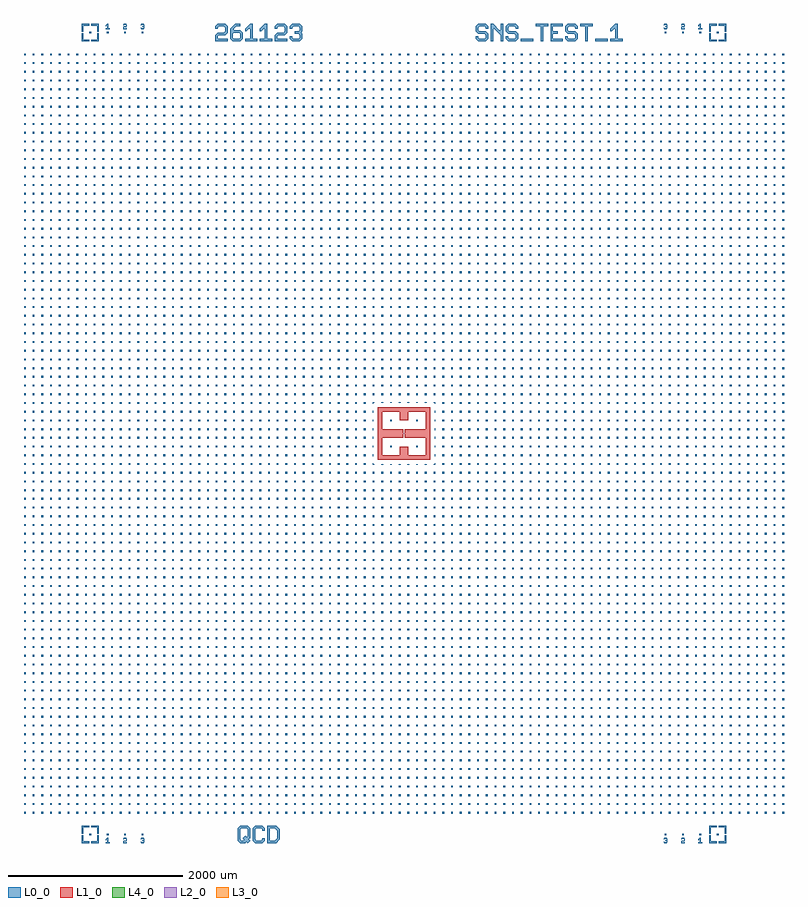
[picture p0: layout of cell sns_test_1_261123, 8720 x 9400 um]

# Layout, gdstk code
import gdstk
lib = gdstk.Library(unit=1e-6, precision=1e-09)
def R(c, l, rs):  # rectangles x0, y0, x1, y1
    for r in rs: c.add(gdstk.rectangle(r[:2], r[2:], *l))
def A(c, l, x, y, w, h, nx, ny, dx, dy):  # array of equal rectangles
    R(c, l, [(x+i*dx, y+j*dy, x+i*dx+w, y+j*dy+h) for i in range(nx) for j in range(ny)])
def P(c, l, *ps):  # polygons
    for p in ps: c.add(gdstk.Polygon(p, *l))
L0_0 = (0, 0)
L1_0 = (1, 0)
L2_0 = (2, 0)
L3_0 = (3, 0)
L4_0 = (4, 0)

sns_test_1_261123 = lib.new_cell('sns_test_1_261123')
A(sns_test_1_261123, L0_0, -3610, -4610, 20, 20, 4, 2, 200, 9200)
A(sns_test_1_261123, L0_0, 2990, -4610, 20, 20, 4, 2, 200, 9200)
A(sns_test_1_261123, L0_0, -4360, -4360, 20, 20, 88, 40, 100, 100)
A(sns_test_1_261123, L0_0, -4360, -360, 20, 20, 40, 8, 100, 100)
A(sns_test_1_261123, L0_0, -260, -360, 20, 10, 6, 2, 100, 710)
A(sns_test_1_261123, L0_0, 440, -360, 20, 20, 40, 2, 100, 100)
A(sns_test_1_261123, L0_0, -360, -260, 10, 20, 1, 6, 0, 100)
A(sns_test_1_261123, L0_0, 350, -260, 10, 20, 1, 6, 0, 100)
A(sns_test_1_261123, L0_0, -160, -160, 20, 20, 3, 2, 300, 300)
A(sns_test_1_261123, L0_0, 540, -160, 20, 20, 39, 2, 100, 300)
A(sns_test_1_261123, L0_0, 440, -60, 20, 20, 40, 2, 100, 100)
A(sns_test_1_261123, L0_0, 440, 240, 20, 20, 40, 2, 100, 100)
A(sns_test_1_261123, L0_0, -4360, 440, 20, 20, 88, 40, 100, 100)
R(sns_test_1_261123, L0_0, [(1338.096,4500,1480.953,4528.571), (2195.238,4500,2338.095,4528.571)])
P(sns_test_1_261123, L0_0, [(3610,4500),(3610,4520),(3680,4520),(3680,4590),(3700,4590),(3700,4500)],
  [(3680,4610),(3680,4680),(3610,4680),(3610,4700),(3700,4700),(3700,4610)],
  [(3500,4610),(3500,4700),(3590,4700),(3590,4680),(3520,4680),(3520,4610)],
  [(3500,4500),(3500,4590),(3520,4590),(3520,4520),(3590,4520),(3590,4500)],
  [(3378.572,4640),(3378.572,4648.571),(3395.715,4648.571),(3395.715,4682.857),(3391.429,4682.857),(3382.858,4674.286),(3378.572,4674.286),(3378.572,4682.857),(3395.715,4700),(3404.286,4700),(3404.286,4648.571),(3421.429,4648.571),(3421.429,4640)],
  [(3178.572,4640),(3178.572,4661.429),(3187.143,4670),(3208.572,4670),(3212.858,4674.286),(3212.858,4687.143),(3208.572,4691.429),(3191.429,4691.429),(3187.143,4687.143),(3187.143,4682.857),(3178.572,4682.857),(3178.572,4691.429),(3187.143,4700),(3212.858,4700),(3221.429,4691.429),(3221.429,4670),(3212.858,4661.429),(3191.429,4661.429),(3187.143,4657.143),(3187.143,4648.571),(3221.429,4648.571),(3221.429,4640)],
  [(2987.143,4640),(2978.572,4648.571),(2978.572,4657.143),(2987.143,4657.143),(2987.143,4652.857),(2991.429,4648.571),(3008.572,4648.571),(3012.858,4652.857),(3012.858,4661.429),(3008.572,4665.714),(2995.715,4665.714),(2995.715,4674.286),(3008.572,4674.286),(3012.858,4678.571),(3012.858,4687.143),(3008.572,4691.429),(2991.429,4691.429),(2987.143,4687.143),(2987.143,4682.857),(2978.572,4682.857),(2978.572,4691.429),(2987.143,4700),(3012.858,4700),(3021.429,4691.429),(3021.429,4674.286),(3017.143,4670),(3021.429,4665.714),(3021.429,4648.571),(3012.858,4640)],
  [(2366.666,4500),(2366.666,4528.571),(2423.809,4528.571),(2423.809,4642.857),(2409.523,4642.857),(2380.952,4614.286),(2366.666,4614.286),(2366.666,4642.857),(2423.809,4700),(2452.38,4700),(2452.38,4528.571),(2509.523,4528.571),(2509.523,4500)],
  [(995.239,4500),(995.239,4700),(1023.81,4700),(1095.239,4628.571),(1109.525,4628.571),(1109.525,4700),(1138.096,4700),(1138.096,4500),(1109.525,4500),(1109.525,4571.429),(1038.096,4642.857),(1023.81,4642.857),(1023.81,4500)],
  [(1566.667,4500),(1566.667,4671.428),(1509.524,4671.428),(1509.524,4700),(1652.381,4700),(1652.381,4671.428),(1595.238,4671.428),(1595.238,4500)],
  [(1680.952,4500),(1680.952,4700),(1823.809,4700),(1823.809,4671.428),(1709.523,4671.428),(1709.523,4614.286),(1766.666,4614.286),(1766.666,4585.714),(1709.523,4585.714),(1709.523,4528.571),(1823.809,4528.571),(1823.809,4500)],
  [(1880.952,4500),(1852.381,4528.571),(1852.381,4557.143),(1880.952,4557.143),(1880.952,4542.857),(1895.238,4528.571),(1952.381,4528.571),(1966.667,4542.857),(1966.667,4571.429),(1952.381,4585.714),(1880.952,4585.714),(1852.381,4614.286),(1852.381,4671.428),(1880.952,4700),(1966.667,4700),(1995.238,4671.428),(1995.238,4642.857),(1966.667,4642.857),(1966.667,4657.143),(1952.381,4671.428),(1895.238,4671.428),(1880.952,4657.143),(1880.952,4628.571),(1895.238,4614.286),(1966.667,4614.286),(1995.238,4585.714),(1995.238,4528.571),(1966.667,4500)],
  [(2080.952,4500),(2080.952,4671.428),(2023.809,4671.428),(2023.809,4700),(2166.666,4700),(2166.666,4671.428),(2109.523,4671.428),(2109.523,4500)],
  [(1195.238,4500),(1166.667,4528.571),(1166.667,4557.143),(1195.238,4557.143),(1195.238,4542.857),(1209.524,4528.571),(1266.667,4528.571),(1280.953,4542.857),(1280.953,4571.429),(1266.667,4585.714),(1195.238,4585.714),(1166.667,4614.286),(1166.667,4671.428),(1195.238,4700),(1280.953,4700),(1309.524,4671.428),(1309.524,4642.857),(1280.953,4642.857),(1280.953,4657.143),(1266.667,4671.428),(1209.524,4671.428),(1195.238,4657.143),(1195.238,4628.571),(1209.524,4614.286),(1280.953,4614.286),(1309.524,4585.714),(1309.524,4528.571),(1280.953,4500)],
  [(852.381,4500),(823.81,4528.571),(823.81,4557.143),(852.381,4557.143),(852.381,4542.857),(866.667,4528.571),(923.81,4528.571),(938.096,4542.857),(938.096,4571.429),(923.81,4585.714),(852.381,4585.714),(823.81,4614.286),(823.81,4671.428),(852.381,4700),(938.096,4700),(966.667,4671.428),(966.667,4642.857),(938.096,4642.857),(938.096,4657.143),(923.81,4671.428),(866.667,4671.428),(852.381,4657.143),(852.381,4628.571),(866.667,4614.286),(938.096,4614.286),(966.667,4585.714),(966.667,4528.571),(938.096,4500)],
  [(350,340),(350,350),(340,350),(340,360),(360,360),(360,340)],
  [(-1652.381,4500),(-1652.381,4528.571),(-1595.238,4528.571),(-1595.238,4642.857),(-1609.524,4642.857),(-1638.095,4614.286),(-1652.381,4614.286),(-1652.381,4642.857),(-1595.238,4700),(-1566.667,4700),(-1566.667,4528.571),(-1509.524,4528.571),(-1509.524,4500)],
  [(-1480.953,4500),(-1480.953,4571.429),(-1452.382,4600),(-1380.953,4600),(-1366.667,4614.286),(-1366.667,4657.143),(-1380.953,4671.428),(-1438.096,4671.428),(-1452.382,4657.143),(-1452.382,4642.857),(-1480.953,4642.857),(-1480.953,4671.428),(-1452.382,4700),(-1366.667,4700),(-1338.096,4671.428),(-1338.096,4600),(-1366.667,4571.429),(-1438.096,4571.429),(-1452.382,4557.143),(-1452.382,4528.571),(-1338.096,4528.571),(-1338.096,4500)],
  [(-1280.953,4500),(-1309.524,4528.571),(-1309.524,4557.143),(-1280.953,4557.143),(-1280.953,4542.857),(-1266.667,4528.571),(-1209.524,4528.571),(-1195.238,4542.857),(-1195.238,4571.429),(-1209.524,4585.714),(-1252.381,4585.714),(-1252.381,4614.286),(-1209.524,4614.286),(-1195.238,4628.571),(-1195.238,4657.143),(-1209.524,4671.428),(-1266.667,4671.428),(-1280.953,4657.143),(-1280.953,4642.857),(-1309.524,4642.857),(-1309.524,4671.428),(-1280.953,4700),(-1195.238,4700),(-1166.667,4671.428),(-1166.667,4614.286),(-1180.953,4600),(-1166.667,4585.714),(-1166.667,4528.571),(-1195.238,4500)],
  [(-2166.666,4500),(-2166.666,4571.429),(-2138.095,4600),(-2066.666,4600),(-2052.38,4614.286),(-2052.38,4657.143),(-2066.666,4671.428),(-2123.809,4671.428),(-2138.095,4657.143),(-2138.095,4642.857),(-2166.666,4642.857),(-2166.666,4671.428),(-2138.095,4700),(-2052.38,4700),(-2023.809,4671.428),(-2023.809,4600),(-2052.38,4571.429),(-2123.809,4571.429),(-2138.095,4557.143),(-2138.095,4528.571),(-2023.809,4528.571),(-2023.809,4500)],
  [(-1966.667,4500),(-1995.238,4528.571),(-1995.238,4642.857),(-1938.095,4700),(-1880.952,4700),(-1880.952,4671.428),(-1923.809,4671.428),(-1952.381,4642.857),(-1952.381,4628.571),(-1880.952,4628.571),(-1852.381,4600),(-1952.381,4600),(-1966.667,4585.714),(-1966.667,4542.857),(-1952.381,4528.571),(-1895.238,4528.571),(-1880.952,4542.857),(-1880.952,4585.714),(-1895.238,4600),(-1852.381,4600),(-1852.381,4528.571),(-1880.952,4500)],
  [(-1823.809,4500),(-1823.809,4528.571),(-1766.666,4528.571),(-1766.666,4642.857),(-1780.952,4642.857),(-1809.523,4614.286),(-1823.809,4614.286),(-1823.809,4642.857),(-1766.666,4700),(-1738.095,4700),(-1738.095,4528.571),(-1680.952,4528.571),(-1680.952,4500)],
  [(-3012.858,4640),(-3021.429,4648.571),(-3021.429,4657.143),(-3012.858,4657.143),(-3012.858,4652.857),(-3008.572,4648.571),(-2991.429,4648.571),(-2987.143,4652.857),(-2987.143,4661.429),(-2991.429,4665.714),(-3004.286,4665.714),(-3004.286,4674.286),(-2991.429,4674.286),(-2987.143,4678.571),(-2987.143,4687.143),(-2991.429,4691.429),(-3008.572,4691.429),(-3012.858,4687.143),(-3012.858,4682.857),(-3021.429,4682.857),(-3021.429,4691.429),(-3012.858,4700),(-2987.143,4700),(-2978.572,4691.429),(-2978.572,4674.286),(-2982.858,4670),(-2978.572,4665.714),(-2978.572,4648.571),(-2987.143,4640)],
  [(-3221.429,4640),(-3221.429,4661.429),(-3212.858,4670),(-3191.429,4670),(-3187.143,4674.286),(-3187.143,4687.143),(-3191.429,4691.429),(-3208.572,4691.429),(-3212.858,4687.143),(-3212.858,4682.857),(-3221.429,4682.857),(-3221.429,4691.429),(-3212.858,4700),(-3187.143,4700),(-3178.572,4691.429),(-3178.572,4670),(-3187.143,4661.429),(-3208.572,4661.429),(-3212.858,4657.143),(-3212.858,4648.571),(-3178.572,4648.571),(-3178.572,4640)],
  [(-3700,4610),(-3700,4700),(-3610,4700),(-3610,4680),(-3680,4680),(-3680,4610)],
  [(-3520,4610),(-3520,4680),(-3590,4680),(-3590,4700),(-3500,4700),(-3500,4610)],
  [(-3421.429,4640),(-3421.429,4648.571),(-3404.286,4648.571),(-3404.286,4682.857),(-3408.572,4682.857),(-3417.143,4674.286),(-3421.429,4674.286),(-3421.429,4682.857),(-3404.286,4700),(-3395.715,4700),(-3395.715,4648.571),(-3378.572,4648.571),(-3378.572,4640)],
  [(-3590,4500),(-3590,4520),(-3520,4520),(-3520,4590),(-3500,4590),(-3500,4500)],
  [(-3700,4500),(-3700,4590),(-3680,4590),(-3680,4520),(-3610,4520),(-3610,4500)],
  [(-360,340),(-360,360),(-340,360),(-340,350),(-350,350),(-350,340)],
  [(-360,-360),(-360,-340),(-350,-340),(-350,-350),(-340,-350),(-340,-360)],
  [(-3520,-4590),(-3520,-4520),(-3590,-4520),(-3590,-4500),(-3500,-4500),(-3500,-4590)],
  [(-3421.429,-4700),(-3421.429,-4691.429),(-3404.286,-4691.429),(-3404.286,-4657.143),(-3408.572,-4657.143),(-3417.143,-4665.714),(-3421.429,-4665.714),(-3421.429,-4657.143),(-3404.286,-4640),(-3395.715,-4640),(-3395.715,-4691.429),(-3378.572,-4691.429),(-3378.572,-4700)],
  [(-3590,-4700),(-3590,-4680),(-3520,-4680),(-3520,-4610),(-3500,-4610),(-3500,-4700)],
  [(-3700,-4590),(-3700,-4500),(-3610,-4500),(-3610,-4520),(-3680,-4520),(-3680,-4590)],
  [(-3700,-4700),(-3700,-4610),(-3680,-4610),(-3680,-4680),(-3610,-4680),(-3610,-4700)],
  [(-3221.429,-4700),(-3221.429,-4678.571),(-3212.858,-4670),(-3191.429,-4670),(-3187.143,-4665.714),(-3187.143,-4652.857),(-3191.429,-4648.571),(-3208.572,-4648.571),(-3212.858,-4652.857),(-3212.858,-4657.143),(-3221.429,-4657.143),(-3221.429,-4648.571),(-3212.858,-4640),(-3187.143,-4640),(-3178.572,-4648.571),(-3178.572,-4670),(-3187.143,-4678.571),(-3208.572,-4678.571),(-3212.858,-4682.857),(-3212.858,-4691.429),(-3178.572,-4691.429),(-3178.572,-4700)],
  [(-3012.858,-4700),(-3021.429,-4691.429),(-3021.429,-4682.857),(-3012.858,-4682.857),(-3012.858,-4687.143),(-3008.572,-4691.429),(-2991.429,-4691.429),(-2987.143,-4687.143),(-2987.143,-4678.571),(-2991.429,-4674.286),(-3004.286,-4674.286),(-3004.286,-4665.714),(-2991.429,-4665.714),(-2987.143,-4661.429),(-2987.143,-4652.857),(-2991.429,-4648.571),(-3008.572,-4648.571),(-3012.858,-4652.857),(-3012.858,-4657.143),(-3021.429,-4657.143),(-3021.429,-4648.571),(-3012.858,-4640),(-2987.143,-4640),(-2978.572,-4648.571),(-2978.572,-4665.714),(-2982.858,-4670),(-2978.572,-4674.286),(-2978.572,-4691.429),(-2987.143,-4700)],
  [(-1709.524,-4700),(-1738.095,-4671.429),(-1738.095,-4528.572),(-1709.524,-4500),(-1623.809,-4500),(-1595.238,-4528.572),(-1595.238,-4557.143),(-1623.809,-4557.143),(-1623.809,-4542.857),(-1638.095,-4528.572),(-1695.238,-4528.572),(-1709.524,-4542.857),(-1709.524,-4657.143),(-1695.238,-4671.429),(-1638.095,-4671.429),(-1623.809,-4657.143),(-1623.809,-4642.857),(-1595.238,-4642.857),(-1595.238,-4671.429),(-1623.809,-4700)],
  [(-1880.953,-4700),(-1909.524,-4671.429),(-1909.524,-4528.572),(-1880.953,-4500),(-1795.238,-4500),(-1766.667,-4528.572),(-1866.667,-4528.572),(-1880.953,-4542.857),(-1880.953,-4657.143),(-1866.667,-4671.429),(-1838.095,-4671.429),(-1838.095,-4657.143),(-1852.381,-4642.857),(-1823.81,-4614.286),(-1809.524,-4628.571),(-1795.238,-4628.571),(-1795.238,-4542.857),(-1809.524,-4528.572),(-1766.667,-4528.572),(-1766.667,-4642.857),(-1780.953,-4657.143),(-1766.667,-4671.429),(-1795.238,-4700),(-1809.524,-4685.714),(-1823.81,-4700)],
  [(-1566.667,-4700),(-1566.667,-4500),(-1466.667,-4500),(-1438.096,-4528.572),(-1538.096,-4528.572),(-1538.096,-4671.429),(-1480.953,-4671.429),(-1452.381,-4642.857),(-1452.381,-4557.143),(-1480.953,-4528.572),(-1438.096,-4528.572),(-1423.81,-4542.857),(-1423.81,-4657.143),(-1466.667,-4700)],
  [(340,-360),(340,-350),(350,-350),(350,-340),(360,-340),(360,-360)],
  [(3178.572,-4700),(3178.572,-4678.571),(3187.143,-4670),(3208.572,-4670),(3212.858,-4665.714),(3212.858,-4652.857),(3208.572,-4648.571),(3191.429,-4648.571),(3187.143,-4652.857),(3187.143,-4657.143),(3178.572,-4657.143),(3178.572,-4648.571),(3187.143,-4640),(3212.858,-4640),(3221.429,-4648.571),(3221.429,-4670),(3212.858,-4678.571),(3191.429,-4678.571),(3187.143,-4682.857),(3187.143,-4691.429),(3221.429,-4691.429),(3221.429,-4700)],
  [(2987.143,-4700),(2978.572,-4691.429),(2978.572,-4682.857),(2987.143,-4682.857),(2987.143,-4687.143),(2991.429,-4691.429),(3008.572,-4691.429),(3012.858,-4687.143),(3012.858,-4678.571),(3008.572,-4674.286),(2995.715,-4674.286),(2995.715,-4665.714),(3008.572,-4665.714),(3012.858,-4661.429),(3012.858,-4652.857),(3008.572,-4648.571),(2991.429,-4648.571),(2987.143,-4652.857),(2987.143,-4657.143),(2978.572,-4657.143),(2978.572,-4648.571),(2987.143,-4640),(3012.858,-4640),(3021.429,-4648.571),(3021.429,-4665.714),(3017.143,-4670),(3021.429,-4674.286),(3021.429,-4691.429),(3012.858,-4700)],
  [(3500,-4700),(3500,-4610),(3520,-4610),(3520,-4680),(3590,-4680),(3590,-4700)],
  [(3680,-4590),(3680,-4520),(3610,-4520),(3610,-4500),(3700,-4500),(3700,-4590)],
  [(3610,-4700),(3610,-4680),(3680,-4680),(3680,-4610),(3700,-4610),(3700,-4700)],
  [(3378.572,-4700),(3378.572,-4691.429),(3395.715,-4691.429),(3395.715,-4657.143),(3391.429,-4657.143),(3382.858,-4665.714),(3378.572,-4665.714),(3378.572,-4657.143),(3395.715,-4640),(3404.286,-4640),(3404.286,-4691.429),(3421.429,-4691.429),(3421.429,-4700)],
  [(3500,-4590),(3500,-4500),(3590,-4500),(3590,-4520),(3520,-4520),(3520,-4590)])
R(sns_test_1_261123, L1_0, [(-250,-50,-11,50), (11,-50,250,50)])
P(sns_test_1_261123, L1_0, [(-300,-300),(-300,250),(-250,250),(-250,-250),(-50,-250),(-50,-150),(50,-150),(50,-250),(250,-250),(250,250),(50,250),(50,150),(-50,150),(-50,250),(-300,250),(-300,300),(300,300),(300,-300)],
  [(-11,-5),(-11,5),(3.35,5),(3.35,0.95),(6.35,0.95),(6.35,5),(11,5),(11,-5),(-3.35,-5),(-3.35,-0.95),(-6.35,-0.95),(-6.35,-5)])
R(sns_test_1_261123, L2_0, [(-0.05,-1.45,0.05,1.45), (-4.35,-0.45,1.05,-0.15), (-1.05,0.15,4.35,0.45)])
R(sns_test_1_261123, L3_0, [(-0.15,-2.25,0.15,-1.25), (-5.15,-0.55,-4.15,-0.05), (0.85,-0.55,1.85,-0.05), (-1.85,0.05,-0.85,0.55), (4.15,0.05,5.15,0.55), (-0.15,1.25,0.15,2.25)])
R(sns_test_1_261123, L4_0, [(-4.85,-2.45,-3.35,0.35), (3.35,-0.35,4.85,2.45)])

lib.write_gds('sns_test_1_261123.gds')
